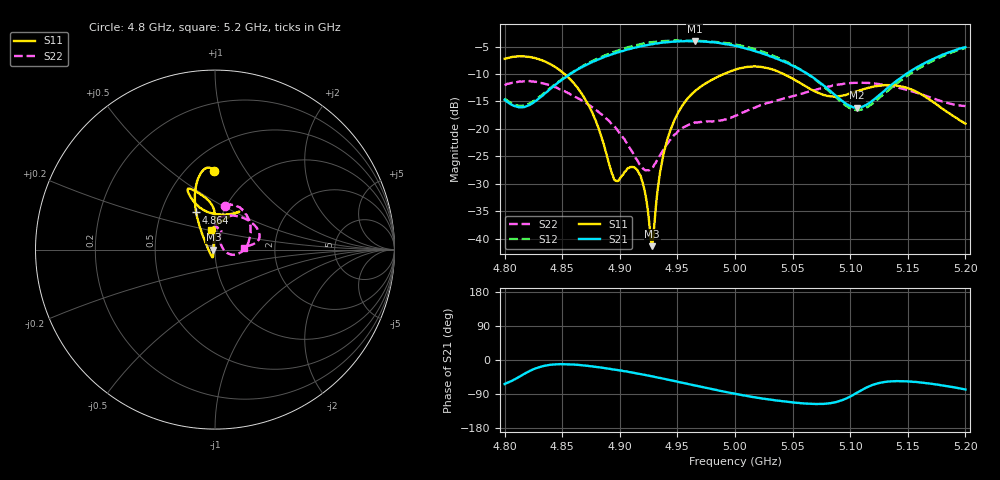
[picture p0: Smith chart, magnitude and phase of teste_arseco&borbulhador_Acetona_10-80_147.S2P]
! Network Analyzer HP8722D
! Hewlett-Packard
! Data name: Linha & Wilkinson
! Saver's name: Rodrigo Anjos
! Comments: Teste da utilização de aquisição
! continua pelo VNA HP8722D
! Time and date: 25/4/2025 16:29
!  Frequency  S11  S21  S12  S22
# HZ  S  MA R 50
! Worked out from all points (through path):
!   401 points, 4.8 GHz to 5.2 GHz, reference 50 ohm
!   highest |S21| = -3.99 dB at 4.965 GHz (marker M1); lowest = -16.1 dB at 5.106 GHz (marker M2)
!   lowest |S11| = -41.4 dB at 4.928 GHz (marker M3), VSWR 1.02, Z = 49.2 + j0.0357 ohm
!   |S11| at or under -10 dB: 4.852 GHz to 4.99 GHz (138.1 MHz wide, 2.81 % of centre); 5.042 GHz to end of sweep
!   |S22| runs from -27.5 to -11.3 dB; largest |S21 - S12| = 1.2
!   S11 on the Smith chart (normalised r, x): 4.8 GHz: 0.67, +0.73; 4.864 GHz: 0.75, +0.33; 5.2 GHz: 0.94, +0.21
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4.8e9  0.4357 90.7  0.1845 -63.3  0.1893 70.2  0.2505 76.7
4.82e9  0.453 97.0  0.1623 -31.8  0.1678 99.1  0.2721 61.2
4.844e9  0.3665 106.9  0.2517 -11.5  0.2551 119.2  0.2392 35.1
4.864e9  0.2318 116.9  0.3513 -13.0  0.3546 120.8  0.1889 11.7
4.867e9  0.2089 118.6  0.3654 -13.9  0.3691 120.7  0.1812 8.4
4.88e9  0.1119 129.3  0.4236 -18.6  0.4346 118.0  0.1469 -5.5
4.896e9  0.0339 -165.9  0.4891 -25.5  0.5081 112.9  0.1036 -16.0
4.909e9  0.04489 -110.1  0.536 -32.2  0.5618 107.4  0.06627 -13.7
4.917e9  0.03886 -106.2  0.5619 -36.6  0.589 103.3  0.04778 0.1
4.921e9  0.02909 -110.4  0.5739 -38.9  0.5999 101.1  0.04295 14.0
4.928e9  0.00856 177.6  0.5906 -43.1  0.618 96.8  0.04462 42.0
4.934e9  0.0344 101.2  0.6045 -47.0  0.6284 93.0  0.05561 58.3
4.939e9  0.06524 94.2  0.6143 -50.0  0.6326 89.7  0.06743 66.2
4.946e9  0.1111 90.4  0.6235 -54.7  0.6372 85.4  0.08508 70.1
4.965e9  0.2199 91.1  0.6314 -67.3  0.6356 73.2  0.1145 71.5
5e9  0.3464 109.1  0.5704 -89.3  0.5892 50.7  0.1316 88.3
5.029e9  0.3568 115.1  0.4671 -103.9  0.4837 34.1  0.1729 85.5
5.067e9  0.2265 105.3  0.2986 -115.7  0.2953 23.7  0.2226 56.7
5.106e9  0.2196 64.8  0.1561 -86.1  0.1483 56.9  0.2628 24.6
5.134e9  0.2508 57.4  0.2432 -56.6  0.2285 88.8  0.2475 12.2
5.168e9  0.188 69.5  0.4154 -61.9  0.3976 85.1  0.1957 6.8
5.2e9  0.1119 101.0  0.5563 -77.8  0.5453 69.9  0.1614 3.7
